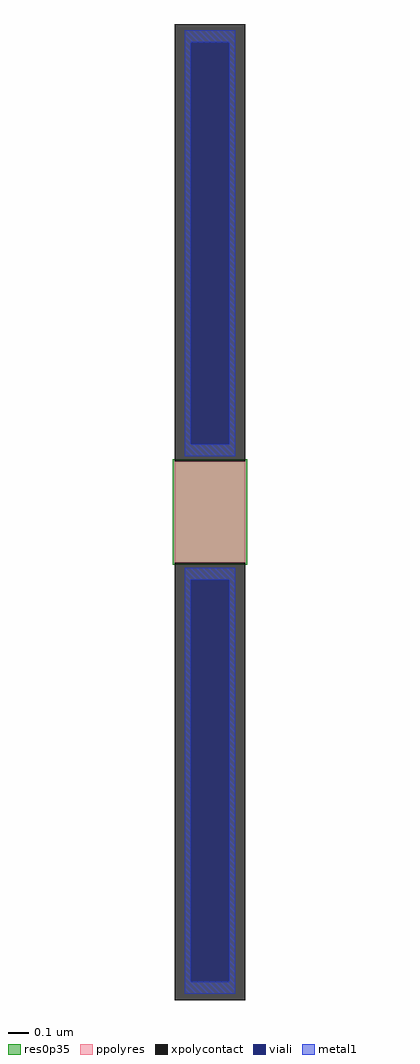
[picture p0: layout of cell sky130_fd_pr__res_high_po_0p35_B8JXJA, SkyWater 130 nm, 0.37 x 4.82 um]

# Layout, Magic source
magic
tech sky130A
magscale 1 2
<< xpolycontact >>
rect -35 50 35 482
rect -35 -482 35 -50
<< ppolyres >>
rect -35 -50 35 50
<< viali >>
rect -19 67 19 464
rect -19 -464 19 -67
<< metal1 >>
rect -25 464 25 476
rect -25 67 -19 464
rect 19 67 25 464
rect -25 55 25 67
rect -25 -67 25 -55
rect -25 -464 -19 -67
rect 19 -464 25 -67
rect -25 -476 25 -464
<< res0p35 >>
rect -37 -52 37 52
<< properties >>
string gencell sky130_fd_pr__res_high_po_0p35
string library sky130
string parameters w 0.350 l 0.5 m 1 nx 1 wmin 0.350 lmin 0.50 rho 319.8 val 1.57k dummy 0 dw 0.0 term 194.82 sterm 0.0 caplen 0 guard 0 glc 1 grc 1 gtc 1 gbc 1 compatible {sky130_fd_pr__res_high_po_0p35  sky130_fd_pr__res_high_po_0p69 sky130_fd_pr__res_high_po_1p41  sky130_fd_pr__res_high_po_2p85 sky130_fd_pr__res_high_po_5p73} snake 0 full_metal 1 wmax 0.350 vias 1 n_guard 0 hv_guard 0 viagb 0 viagt 0 viagl 0 viagr 0
<< end >>
